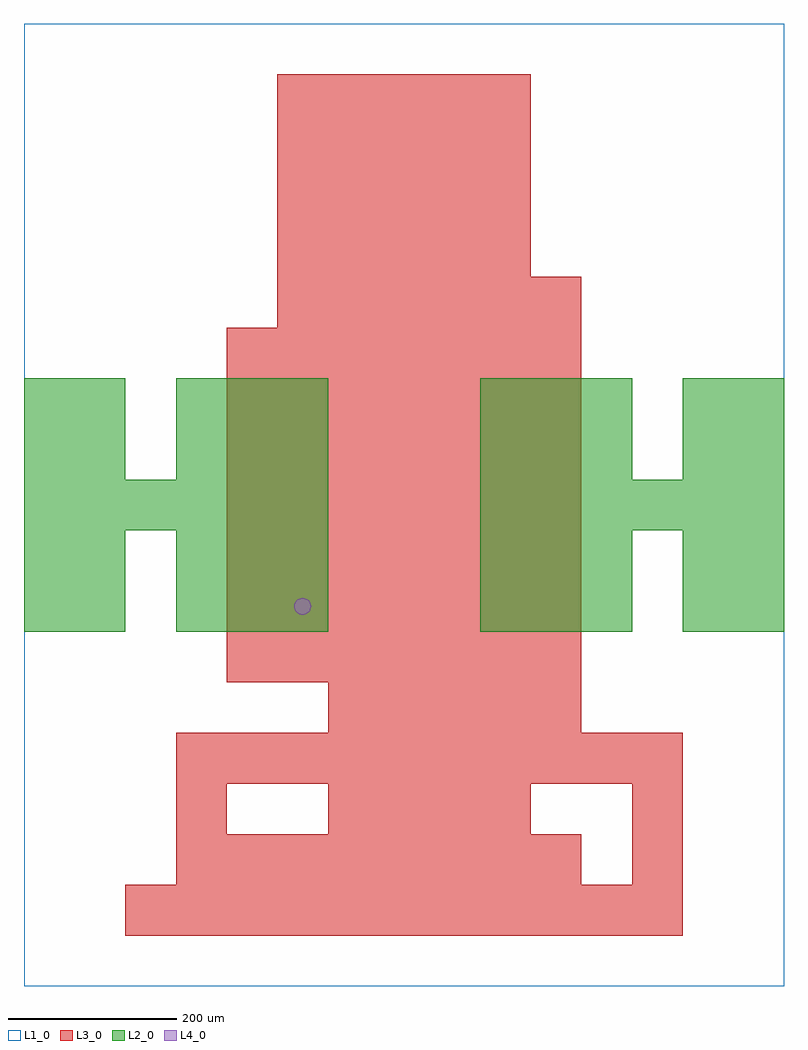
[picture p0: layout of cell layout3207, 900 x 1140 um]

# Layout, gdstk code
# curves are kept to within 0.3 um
import gdstk
lib = gdstk.Library(unit=1e-6, precision=1e-09)
def R(c, l, rs):  # rectangles x0, y0, x1, y1
    for r in rs: c.add(gdstk.rectangle(r[:2], r[2:], *l))
def A(c, l, x, y, w, h, nx, ny, dx, dy):  # array of equal rectangles
    R(c, l, [(x+i*dx, y+j*dy, x+i*dx+w, y+j*dy+h) for i in range(nx) for j in range(ny)])
def P(c, l, *ps):  # polygons
    for p in ps: c.add(gdstk.Polygon(p, *l))
L1_0 = (1, 0)
L2_0 = (2, 0)
L3_0 = (3, 0)
L4_0 = (4, 0)

layout3207 = lib.new_cell('layout3207')
R(layout3207, L1_0, [(0,0,900,1140)])
A(layout3207, L2_0, 180, 420, 60, 60, 3, 2, 60, 60)
A(layout3207, L2_0, 540, 420, 60, 60, 3, 2, 60, 60)
A(layout3207, L2_0, 0, 540, 60, 60, 6, 1, 60, 0)
A(layout3207, L2_0, 540, 540, 60, 60, 6, 1, 60, 0)
A(layout3207, L2_0, 180, 600, 60, 60, 3, 2, 60, 60)
A(layout3207, L2_0, 540, 600, 60, 60, 3, 2, 60, 60)
R(layout3207, L2_0, [(0,420,60,480), (60,420,120,480), (780,420,840,480), (840,420,900,480), (0,480,60,540), (60,480,120,540), (780,480,840,540), (840,480,900,540), (0,600,60,660), (60,600,120,660), (780,600,840,660), (840,600,900,660), (0,660,60,720), (60,660,120,720), (780,660,840,720), (840,660,900,720)])
A(layout3207, L3_0, 120, 60, 60, 60, 11, 1, 60, 0)
A(layout3207, L3_0, 180, 120, 60, 60, 8, 1, 60, 0)
A(layout3207, L3_0, 360, 180, 60, 60, 4, 1, 60, 0)
A(layout3207, L3_0, 180, 240, 60, 60, 10, 1, 60, 0)
A(layout3207, L3_0, 360, 300, 60, 60, 5, 1, 60, 0)
A(layout3207, L3_0, 240, 360, 60, 60, 7, 7, 60, 60)
A(layout3207, L3_0, 300, 780, 60, 60, 6, 1, 60, 0)
A(layout3207, L3_0, 300, 840, 60, 60, 5, 4, 60, 60)
R(layout3207, L3_0, [(720,120,780,180), (180,180,240,240), (720,180,780,240)])
P(layout3207, L4_0, [(340,450),(339.239,453.827),(337.071,457.071),(333.827,459.239),(330,460),(326.173,459.239),(322.929,457.071),(320.761,453.827),(320,450),(320.761,446.173),(322.929,442.929),(326.173,440.761),(330,440),(333.827,440.761),(337.071,442.929),(339.239,446.173)])

lib.write_gds('layout3207.gds')
